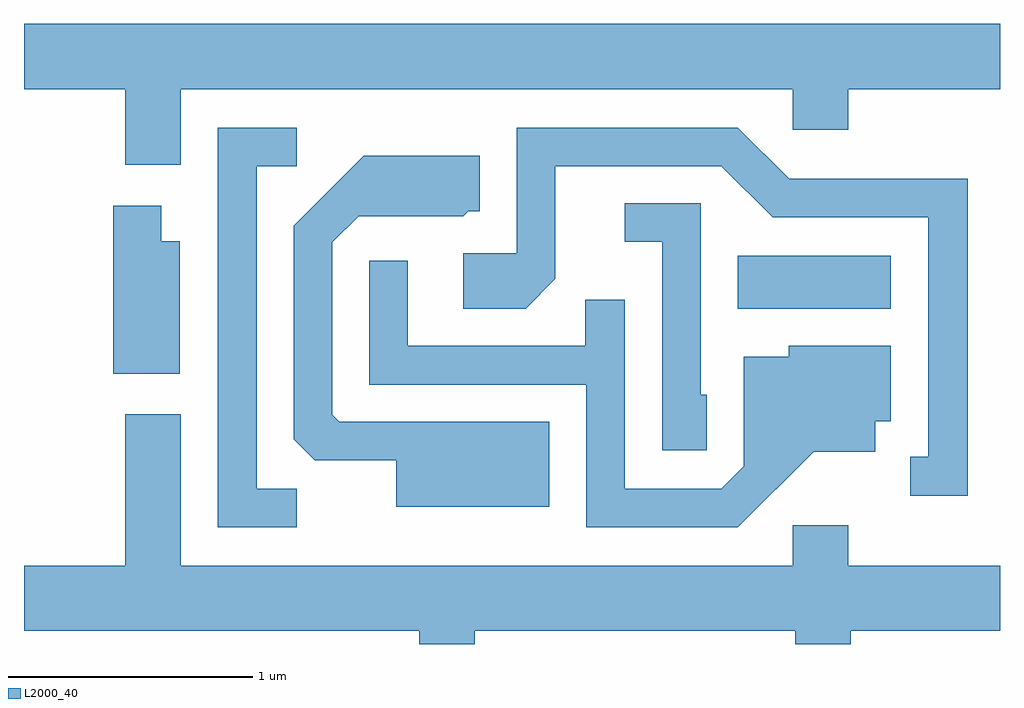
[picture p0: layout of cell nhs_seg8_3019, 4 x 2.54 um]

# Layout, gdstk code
import gdstk
lib = gdstk.Library(unit=1e-6, precision=1e-09)
def R(c, l, rs):  # rectangles x0, y0, x1, y1
    for r in rs: c.add(gdstk.rectangle(r[:2], r[2:], *l))
def P(c, l, *ps):  # polygons
    for p in ps: c.add(gdstk.Polygon(p, *l))
L2000_40 = (2000, 40)

nhs_seg8_3019 = lib.new_cell('nhs_seg8_3019')
R(nhs_seg8_3019, L2000_40, [(278.536,1857.716,279.164,1857.934)])
P(nhs_seg8_3019, L2000_40, [(276.254,1858.616),(278.761,1858.616),(278.761,1858.451),(278.989,1858.451),(278.989,1858.616),(279.611,1858.616),(279.611,1858.884),(275.611,1858.884),(275.611,1858.616),(276.026,1858.616),(276.026,1858.306),(276.254,1858.306)],
  [(276.728,1856.979),(276.564,1856.979),(276.564,1858.301),(276.728,1858.301),(276.728,1858.459),(276.406,1858.459),(276.406,1856.821),(276.728,1856.821)],
  [(279.479,1858.249),(278.747,1858.249),(278.537,1858.459),(277.631,1858.459),(277.631,1857.944),(277.411,1857.944),(277.411,1857.716),(277.667,1857.716),(277.789,1857.839),(277.789,1858.301),(278.469,1858.301),(278.679,1858.091),(279.316,1858.091),(279.316,1857.109),(279.243,1857.109),(279.243,1856.951),(279.479,1856.951)],
  [(277.764,1857.254),(276.902,1857.254),(276.874,1857.282),(276.874,1857.989),(276.982,1858.096),(277.412,1858.096),(277.432,1858.116),(277.479,1858.116),(277.479,1858.344),(277.004,1858.344),(276.716,1858.057),(276.716,1857.182),(276.802,1857.096),(277.136,1857.096),(277.136,1856.906),(277.764,1856.906)],
  [(278.409,1857.364),(278.384,1857.364),(278.384,1858.149),(278.073,1858.149),(278.073,1857.991),(278.226,1857.991),(278.226,1857.136),(278.409,1857.136)],
  [(276.249,1857.994),(276.174,1857.994),(276.174,1858.139),(275.976,1858.139),(275.976,1857.451),(276.249,1857.451)],
  [(278.847,1857.131),(279.099,1857.131),(279.099,1857.256),(279.164,1857.256),(279.164,1857.564),(278.746,1857.564),(278.746,1857.519),(278.561,1857.519),(278.561,1857.072),(278.469,1856.979),(278.074,1856.979),(278.074,1857.753),(277.911,1857.753),(277.911,1857.564),(277.184,1857.564),(277.184,1857.913),(277.026,1857.913),(277.026,1857.406),(277.916,1857.406),(277.916,1856.821),(278.537,1856.821)],
  [(277.459,1856.396),(278.771,1856.396),(278.771,1856.342),(278.999,1856.342),(278.999,1856.396),(279.611,1856.396),(279.611,1856.664),(278.989,1856.664),(278.989,1856.829),(278.761,1856.829),(278.761,1856.664),(276.254,1856.664),(276.254,1857.284),(276.026,1857.284),(276.026,1856.664),(275.611,1856.664),(275.611,1856.396),(277.231,1856.396),(277.231,1856.342),(277.459,1856.342)])

lib.write_gds('nhs_seg8_3019.gds')
